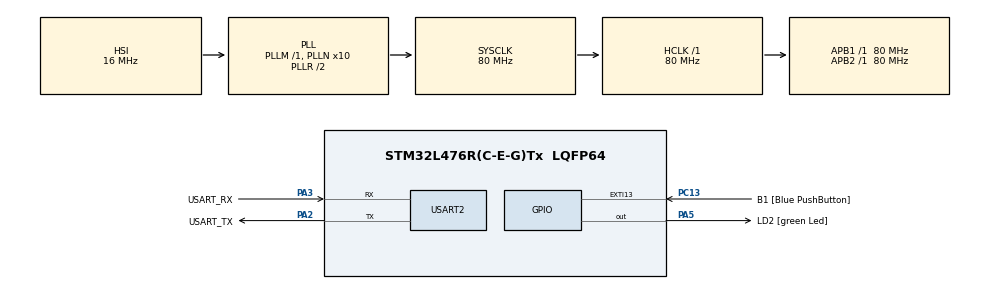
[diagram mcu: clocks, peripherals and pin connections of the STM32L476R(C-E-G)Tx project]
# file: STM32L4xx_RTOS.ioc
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Mcu.Family=STM32L4
Mcu.Name=STM32L476R(C-E-G)Tx
Mcu.Package=LQFP64
NVIC.EXTI15_10_IRQn=true\:0\:0\:false\:false\:true\:true\:true\:true
NVIC.PriorityGroup=NVIC_PRIORITYGROUP_4
PA13\ (JTMS-SWDIO).GPIO_Label=TMS
PA13\ (JTMS-SWDIO).Mode=Serial_Wire
PA13\ (JTMS-SWDIO).Signal=SYS_JTMS-SWDIO
PA14\ (JTCK-SWCLK).GPIO_Label=TCK
PA14\ (JTCK-SWCLK).Mode=Serial_Wire
PA14\ (JTCK-SWCLK).Signal=SYS_JTCK-SWCLK
PA2.GPIO_Label=USART_TX
PA2.GPIO_Mode=GPIO_MODE_AF_PP
PA2.GPIO_PuPd=GPIO_NOPULL
PA2.GPIO_Speed=GPIO_SPEED_FREQ_VERY_HIGH
PA2.Mode=Asynchronous
PA2.Signal=USART2_TX
PA3.GPIO_Label=USART_RX
PA3.GPIO_Mode=GPIO_MODE_AF_PP
PA3.GPIO_PuPd=GPIO_NOPULL
PA3.GPIO_Speed=GPIO_SPEED_FREQ_VERY_HIGH
PA3.Mode=Asynchronous
PA3.Signal=USART2_RX
PA5.GPIO_Label=LD2 [green Led]
PA5.GPIO_ModeDefaultOutputPP=GPIO_MODE_OUTPUT_PP
PA5.GPIO_PuPd=GPIO_NOPULL
PA5.GPIO_Speed=GPIO_SPEED_FREQ_LOW
PA5.Signal=GPIO_Output
PB3\ (JTDO-TRACESWO).GPIO_Label=SWO
PB3\ (JTDO-TRACESWO).Signal=SYS_JTDO-SWO
PC13.GPIO_Label=B1 [Blue PushButton]
PC13.GPIO_ModeDefaultEXTI=GPIO_MODE_IT_FALLING
PC13.GPIO_PuPd=GPIO_NOPULL
PC13.Signal=GPXTI13
PC14-OSC32_IN\ (PC14).Mode=LSE-External-Oscillator
PC14-OSC32_IN\ (PC14).Signal=RCC_OSC32_IN
PC15-OSC32_OUT\ (PC15).Mode=LSE-External-Oscillator
PC15-OSC32_OUT\ (PC15).Signal=RCC_OSC32_OUT
PH0-OSC_IN\ (PH0).Signal=RCC_OSC_IN
PH1-OSC_OUT\ (PH1).Signal=RCC_OSC_OUT
ProjectManager.HeapSize=0x200
ProjectManager.StackSize=0x400
ProjectManager.TargetToolchain=STM32CubeIDE
RCC.ADCFreq_Value=64000000
RCC.AHBFreq_Value=80000000
RCC.APB1Freq_Value=80000000
RCC.APB1TimFreq_Value=80000000
RCC.APB2Freq_Value=80000000
RCC.APB2TimFreq_Value=80000000
RCC.CortexFreq_Value=80000000
RCC.HCLKFreq_Value=80000000
RCC.HSE_VALUE=8000000
RCC.HSI_VALUE=16000000
RCC.MSI_VALUE=4000000
RCC.PLLN=10
RCC.PLLSourceVirtual=RCC_PLLSOURCE_HSI
RCC.PREFETCH_ENABLE=1
RCC.SYSCLKFreq_VALUE=80000000
RCC.SYSCLKSource=RCC_SYSCLKSOURCE_PLLCLK
RCC.USBFreq_Value=64000000
RCC.VCOOutputFreq_Value=160000000
USART2.VirtualMode-Asynchronous=VM_ASYNC
board=NUCLEO-L476RG

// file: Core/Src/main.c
/* USER CODE BEGIN Header */
/**
  ******************************************************************************
  * @file           : main.c
  * @brief          : Main program body
  ******************************************************************************
  * @attention
  *
  * Copyright (c) 2025 STMicroelectronics.
  * All rights reserved.
  *
  * This software is licensed under terms that can be found in the LICENSE file
  * in the root directory of this software component.
  * If no LICENSE file comes with this software, it is provided AS-IS.
  *
  ******************************************************************************
  */
/* USER CODE END Header */
#include "main.h"

/* USER CODE BEGIN Includes */
#include "FreeRTOS.h"
#include "task.h"

/* USER CODE END Includes */

UART_HandleTypeDef huart2;

/* USER CODE BEGIN PV */
TaskHandle_t xTaskHandle1 = NULL;
TaskHandle_t xTaskHandle2 = NULL;

/* USER CODE END PV */

void SystemClock_Config(void);
static void MX_GPIO_Init(void);
static void MX_USART2_UART_Init(void);
void pTask1Handler(void* pvParams);
void pTask2Handler(void* pvParams);

int main(void)
{
//  /* USER CODE BEGIN 1 */

  /* USER CODE END 1 */

  /* MCU Configuration--------------------------------------------------------*/

  /* Reset of all peripherals, Initializes the Flash interface and the Systick. */
  HAL_Init();

  /* Configure the system clock */
  SystemClock_Config();

  /* Initialize all configured peripherals */
  MX_GPIO_Init();
  MX_USART2_UART_Init();
  /* USER CODE BEGIN 2 */

  /* Task 1 Creation. */
  xTaskCreate(pTask1Handler, "TASK-1", configMINIMAL_STACK_SIZE,
		  NULL, 2, &xTaskHandle1);

  /* Task 2 Creation. */
  xTaskCreate(pTask2Handler, "TASK-2", configMINIMAL_STACK_SIZE,
		  NULL, 2, &xTaskHandle2);

  /* Start the scheduler. */
  vTaskStartScheduler();

  /* USER CODE END 2 */

  /* Infinite loop */
  while (1)
  {

  }
}

void SystemClock_Config(void)
{
  RCC_OscInitTypeDef RCC_OscInitStruct = {0};
  RCC_ClkInitTypeDef RCC_ClkInitStruct = {0};

  /** Configure the main internal regulator output voltage
  */
  if (HAL_PWREx_ControlVoltageScaling(PWR_REGULATOR_VOLTAGE_SCALE1) != HAL_OK)
  {
    Error_Handler();
  }

  /** Initializes the RCC Oscillators according to the specified parameters
  * in the RCC_OscInitTypeDef structure.
  */
  RCC_OscInitStruct.OscillatorType = RCC_OSCILLATORTYPE_HSI;
  RCC_OscInitStruct.HSIState = RCC_HSI_ON;
  RCC_OscInitStruct.HSICalibrationValue = RCC_HSICALIBRATION_DEFAULT;
  RCC_OscInitStruct.PLL.PLLState = RCC_PLL_ON;
  RCC_OscInitStruct.PLL.PLLSource = RCC_PLLSOURCE_HSI;
  RCC_OscInitStruct.PLL.PLLM = 1;
  RCC_OscInitStruct.PLL.PLLN = 10;
  RCC_OscInitStruct.PLL.PLLP = RCC_PLLP_DIV7;
  RCC_OscInitStruct.PLL.PLLQ = RCC_PLLQ_DIV2;
  RCC_OscInitStruct.PLL.PLLR = RCC_PLLR_DIV2;
  if (HAL_RCC_OscConfig(&RCC_OscInitStruct) != HAL_OK)
  {
    Error_Handler();
  }

  /** Initializes the CPU, AHB and APB buses clocks
  */
  RCC_ClkInitStruct.ClockType = RCC_CLOCKTYPE_HCLK|RCC_CLOCKTYPE_SYSCLK
                              |RCC_CLOCKTYPE_PCLK1|RCC_CLOCKTYPE_PCLK2;
  RCC_ClkInitStruct.SYSCLKSource = RCC_SYSCLKSOURCE_PLLCLK;
  RCC_ClkInitStruct.AHBCLKDivider = RCC_SYSCLK_DIV1;
  RCC_ClkInitStruct.APB1CLKDivider = RCC_HCLK_DIV1;
  RCC_ClkInitStruct.APB2CLKDivider = RCC_HCLK_DIV1;

  if (HAL_RCC_ClockConfig(&RCC_ClkInitStruct, FLASH_LATENCY_4) != HAL_OK)
  {
    Error_Handler();
  }
}

static void MX_USART2_UART_Init(void)
{

  huart2.Instance = USART2;
  huart2.Init.BaudRate = 115200;
  huart2.Init.WordLength = UART_WORDLENGTH_8B;
  huart2.Init.StopBits = UART_STOPBITS_1;
  huart2.Init.Parity = UART_PARITY_NONE;
  huart2.Init.Mode = UART_MODE_TX_RX;
  huart2.Init.HwFlowCtl = UART_HWCONTROL_NONE;
  huart2.Init.OverSampling = UART_OVERSAMPLING_16;
  huart2.Init.OneBitSampling = UART_ONE_BIT_SAMPLE_DISABLE;
  huart2.AdvancedInit.AdvFeatureInit = UART_ADVFEATURE_NO_INIT;
  if (HAL_UART_Init(&huart2) != HAL_OK)
  {
    Error_Handler();
  }

}

static void MX_GPIO_Init(void)
{
  GPIO_InitTypeDef GPIO_InitStruct = {0};

  /* GPIO Ports Clock Enable */
  __HAL_RCC_GPIOC_CLK_ENABLE();
  __HAL_RCC_GPIOH_CLK_ENABLE();
  __HAL_RCC_GPIOA_CLK_ENABLE();
  __HAL_RCC_GPIOB_CLK_ENABLE();

  /*Configure GPIO pin Output Level */
  HAL_GPIO_WritePin(LD2_GPIO_Port, LD2_Pin, GPIO_PIN_RESET);

  /*Configure GPIO pin : B1_Pin */
  GPIO_InitStruct.Pin = B1_Pin;
  GPIO_InitStruct.Mode = GPIO_MODE_IT_FALLING;
  GPIO_InitStruct.Pull = GPIO_NOPULL;
  HAL_GPIO_Init(B1_GPIO_Port, &GPIO_InitStruct);

  /*Configure GPIO pin : LD2_Pin */
  GPIO_InitStruct.Pin = LD2_Pin;
  GPIO_InitStruct.Mode = GPIO_MODE_OUTPUT_PP;
  GPIO_InitStruct.Pull = GPIO_NOPULL;
  GPIO_InitStruct.Speed = GPIO_SPEED_FREQ_LOW;
  HAL_GPIO_Init(LD2_GPIO_Port, &GPIO_InitStruct);

  /* EXTI interrupt init*/
  HAL_NVIC_SetPriority(EXTI15_10_IRQn, 0, 0);
  HAL_NVIC_EnableIRQ(EXTI15_10_IRQn);

}

/* USER CODE BEGIN 4 */

void HAL_GPIO_EXTI_Callback(uint16_t GPIO_Pin)
{
	uint8_t ucTxBuff[] = "Button pressed\r\n";
	uint16_t uhTxSize = sizeof(ucTxBuff);

	HAL_UART_Transmit(&huart2, ucTxBuff,uhTxSize,10);
	HAL_GPIO_TogglePin(LD2_GPIO_Port, LD2_Pin);

	return;
}

void pTask1Handler(void* pvParams)
{
	uint8_t ucTxBuff[] = "This is from Task1\r\n";
	uint16_t uhTxSize = sizeof(ucTxBuff);

	while(1)
	{
		HAL_UART_Transmit(&huart2, ucTxBuff,uhTxSize,10);
		vTaskDelay(pdMS_TO_TICKS(100));
	}

	return;
}

void pTask2Handler(void* pvParams)
{
	uint8_t ucTxBuff[] = "This is from Task2\r\n";
	uint16_t uhTxSize = sizeof(ucTxBuff);

	while(1)
	{
		HAL_UART_Transmit(&huart2, ucTxBuff,uhTxSize,10);
		vTaskDelay(pdMS_TO_TICKS(100));
	}

	return;
}

/* USER CODE END 4 */

void Error_Handler(void)
{
  __disable_irq();
  while (1)
  {
  }
}
